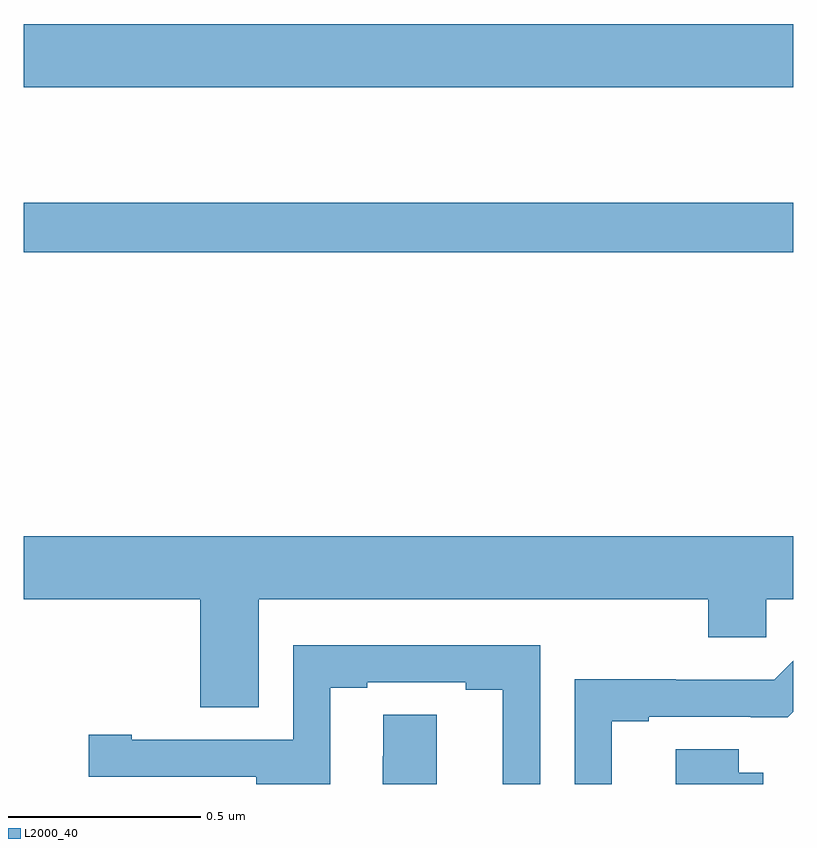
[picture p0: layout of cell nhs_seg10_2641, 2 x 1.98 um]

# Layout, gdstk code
import gdstk
lib = gdstk.Library(unit=1e-6, precision=1e-09)
def R(c, l, rs):  # rectangles x0, y0, x1, y1
    for r in rs: c.add(gdstk.rectangle(r[:2], r[2:], *l))
def P(c, l, *ps):  # polygons
    for p in ps: c.add(gdstk.Polygon(p, *l))
L2000_40 = (2000, 40)

nhs_seg10_2641 = lib.new_cell('nhs_seg10_2641')
R(nhs_seg10_2641, L2000_40, [(143,1303.882,145,1304.011), (143,1304.312,145,1304.476)])
P(nhs_seg10_2641, L2000_40, [(143.611,1302.98),(144.779,1302.98),(144.779,1302.882),(144.93,1302.882),(144.93,1302.98),(145,1302.98),(145,1303.144),(143,1303.144),(143,1302.98),(143.459,1302.98),(143.459,1302.7),(143.611,1302.7)],
  [(143.797,1302.75),(143.893,1302.75),(143.893,1302.765),(144.149,1302.765),(144.149,1302.745),(144.245,1302.745),(144.245,1302.5),(144.342,1302.5),(144.342,1302.861),(143.7,1302.861),(143.7,1302.615),(143.281,1302.615),(143.281,1302.628),(143.169,1302.628),(143.169,1302.519),(143.604,1302.519),(143.604,1302.5),(143.797,1302.5)],
  [(144.529,1302.663),(144.625,1302.663),(144.625,1302.675),(144.89,1302.675),(144.89,1302.674),(144.986,1302.674),(145,1302.688),(145,1302.82),(144.951,1302.771),(144.695,1302.771),(144.695,1302.773),(144.432,1302.773),(144.432,1302.5),(144.529,1302.5)],
  [(144.073,1302.68),(143.934,1302.68),(143.934,1302.572),(143.933,1302.572),(143.933,1302.5),(144.073,1302.5)],
  [(144.922,1302.529),(144.859,1302.529),(144.859,1302.59),(144.695,1302.59),(144.695,1302.5),(144.922,1302.5)])

lib.write_gds('nhs_seg10_2641.gds')
